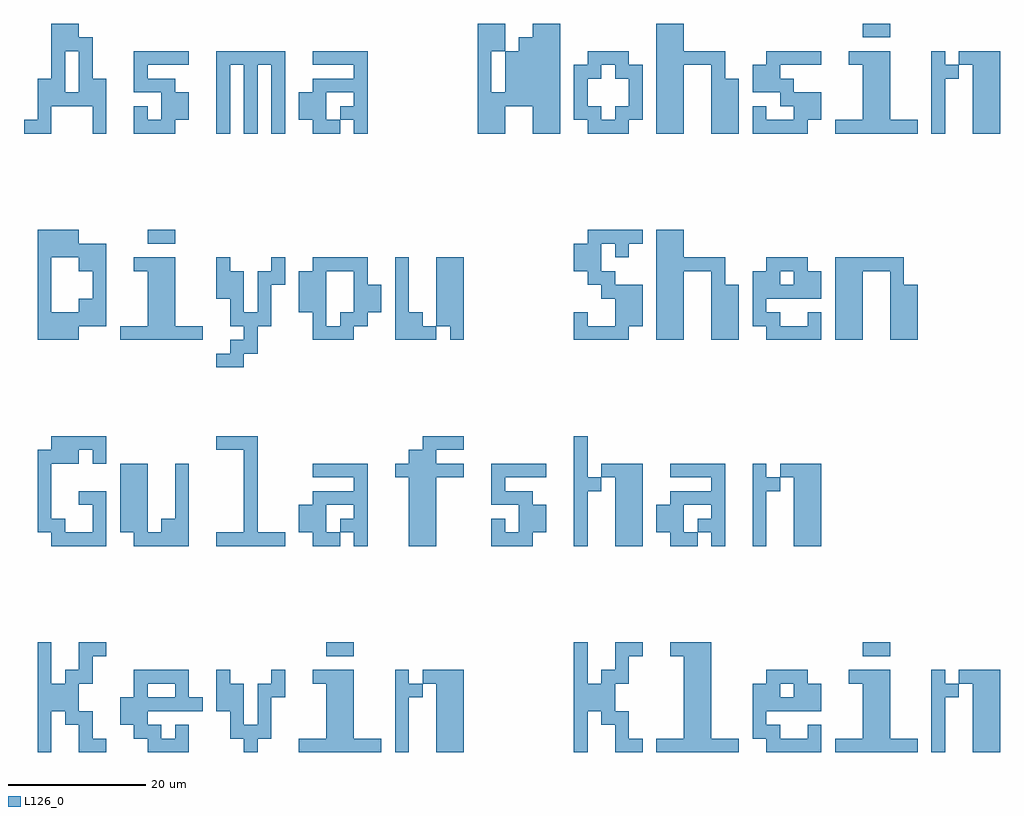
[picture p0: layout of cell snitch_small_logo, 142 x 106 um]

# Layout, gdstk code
import gdstk
lib = gdstk.Library(unit=1e-6, precision=1e-09)
def R(c, l, rs):  # rectangles x0, y0, x1, y1
    for r in rs: c.add(gdstk.rectangle(r[:2], r[2:], *l))
def P(c, l, *ps):  # polygons
    for p in ps: c.add(gdstk.Polygon(p, *l))
L126_0 = (126, 0)

snitch_small_logo = lib.new_cell('snitch_small_logo')
R(snitch_small_logo, L126_0, [(46,46,50,48), (124,46,128,48), (20,106,24,108), (124,136,128,138)])
P(snitch_small_logo, L126_0, [(20,32),(20,34),(18,34),(18,36),(16,36),(16,40),(18,40),(18,42),(20,42),(20,40),(24,40),(24,42),(18,42),(18,44),(26,44),(26,40),(28,40),(28,38),(20,38),(20,36),(22,36),(22,34),(24,34),(24,36),(26,36),(26,32)],
  [(34,32),(34,34),(32,34),(32,38),(30,38),(30,44),(32,44),(32,42),(34,42),(34,36),(36,36),(36,42),(38,42),(38,44),(40,44),(40,40),(38,40),(38,34),(36,34),(36,32)],
  [(42,32),(42,34),(46,34),(46,42),(44,42),(44,44),(50,44),(50,34),(54,34),(54,32)],
  [(56,32),(56,44),(58,44),(58,42),(60,42),(60,44),(66,44),(66,32),(62,32),(62,42),(60,42),(60,40),(58,40),(58,32)],
  [(110,32),(110,34),(108,34),(108,42),(112,42),(112,40),(114,40),(114,42),(110,42),(110,44),(116,44),(116,42),(118,42),(118,38),(110,38),(110,36),(112,36),(112,34),(116,34),(116,36),(118,36),(118,32)],
  [(120,32),(120,34),(124,34),(124,42),(122,42),(122,44),(128,44),(128,34),(132,34),(132,32)],
  [(134,32),(134,44),(136,44),(136,42),(138,42),(138,44),(144,44),(144,32),(140,32),(140,42),(138,42),(138,40),(136,40),(136,32)],
  [(4,32),(4,48),(6,48),(6,42),(8,42),(8,44),(10,44),(10,48),(14,48),(14,46),(12,46),(12,42),(10,42),(10,38),(12,38),(12,34),(14,34),(14,32),(10,32),(10,36),(8,36),(8,38),(6,38),(6,32)],
  [(82,32),(82,48),(84,48),(84,42),(86,42),(86,44),(88,44),(88,48),(92,48),(92,46),(90,46),(90,42),(88,42),(88,38),(90,38),(90,34),(92,34),(92,32),(88,32),(88,36),(86,36),(86,38),(84,38),(84,32)],
  [(94,32),(94,34),(98,34),(98,46),(96,46),(96,48),(102,48),(102,34),(106,34),(106,32)],
  [(18,62),(18,64),(16,64),(16,74),(20,74),(20,64),(22,64),(22,66),(24,66),(24,74),(26,74),(26,62)],
  [(44,62),(44,64),(42,64),(42,68),(46,68),(46,64),(48,64),(48,66),(50,66),(50,68),(44,68),(44,70),(50,70),(50,72),(44,72),(44,74),(52,74),(52,62),(50,62),(50,64),(48,64),(48,62)],
  [(70,62),(70,66),(72,66),(72,64),(74,64),(74,68),(70,68),(70,74),(78,74),(78,72),(72,72),(72,70),(76,70),(76,68),(78,68),(78,64),(76,64),(76,62)],
  [(96,62),(96,64),(94,64),(94,68),(98,68),(98,64),(100,64),(100,66),(102,66),(102,68),(96,68),(96,70),(102,70),(102,72),(96,72),(96,74),(104,74),(104,62),(102,62),(102,64),(100,64),(100,62)],
  [(108,62),(108,74),(110,74),(110,72),(112,72),(112,74),(118,74),(118,62),(114,62),(114,72),(112,72),(112,70),(110,70),(110,62)],
  [(6,62),(6,64),(4,64),(4,76),(6,76),(6,78),(14,78),(14,74),(12,74),(12,76),(10,76),(10,74),(6,74),(6,66),(8,66),(8,64),(12,64),(12,68),(10,68),(10,70),(14,70),(14,62)],
  [(30,62),(30,64),(34,64),(34,76),(30,76),(30,78),(36,78),(36,64),(40,64),(40,62)],
  [(58,62),(58,72),(56,72),(56,74),(58,74),(58,76),(60,76),(60,78),(66,78),(66,76),(62,76),(62,74),(66,74),(66,72),(62,72),(62,62)],
  [(82,62),(82,78),(84,78),(84,72),(86,72),(86,74),(92,74),(92,62),(88,62),(88,72),(86,72),(86,70),(84,70),(84,62)],
  [(16,92),(16,94),(20,94),(20,102),(18,102),(18,104),(24,104),(24,94),(28,94),(28,92)],
  [(30,88),(30,90),(32,90),(32,92),(34,92),(34,94),(32,94),(32,98),(30,98),(30,104),(32,104),(32,102),(34,102),(34,96),(36,96),(36,102),(38,102),(38,104),(40,104),(40,100),(38,100),(38,94),(36,94),(36,90),(34,90),(34,88)],
  [(44,92),(44,96),(42,96),(42,102),(46,102),(46,94),(48,94),(48,96),(50,96),(50,102),(44,102),(44,104),(52,104),(52,100),(54,100),(54,96),(52,96),(52,94),(50,94),(50,92)],
  [(56,92),(56,104),(58,104),(58,96),(60,96),(60,94),(62,94),(62,104),(66,104),(66,92),(64,92),(64,94),(62,94),(62,92)],
  [(110,92),(110,94),(108,94),(108,102),(112,102),(112,100),(114,100),(114,102),(110,102),(110,104),(116,104),(116,102),(118,102),(118,98),(110,98),(110,96),(112,96),(112,94),(116,94),(116,96),(118,96),(118,92)],
  [(120,92),(120,104),(130,104),(130,100),(132,100),(132,92),(128,92),(128,102),(124,102),(124,92)],
  [(4,92),(4,104),(6,104),(6,96),(10,96),(10,98),(12,98),(12,102),(10,102),(10,104),(4,104),(4,108),(10,108),(10,106),(14,106),(14,94),(10,94),(10,92)],
  [(82,92),(82,96),(84,96),(84,94),(88,94),(88,98),(86,98),(86,100),(84,100),(84,102),(82,102),(82,106),(84,106),(84,108),(92,108),(92,106),(90,106),(90,104),(88,104),(88,106),(86,106),(86,102),(88,102),(88,100),(92,100),(92,94),(90,94),(90,92)],
  [(94,92),(94,108),(98,108),(98,104),(104,104),(104,100),(106,100),(106,92),(102,92),(102,102),(98,102),(98,92)],
  [(18,122),(18,126),(20,126),(20,124),(22,124),(22,128),(18,128),(18,134),(26,134),(26,132),(20,132),(20,130),(24,130),(24,128),(26,128),(26,124),(24,124),(24,122)],
  [(30,122),(30,134),(40,134),(40,122),(38,122),(38,132),(36,132),(36,122),(34,122),(34,132),(32,132),(32,122)],
  [(44,122),(44,124),(42,124),(42,128),(46,128),(46,124),(48,124),(48,126),(50,126),(50,128),(44,128),(44,130),(50,130),(50,132),(44,132),(44,134),(52,134),(52,122),(50,122),(50,124),(48,124),(48,122)],
  [(84,122),(84,124),(82,124),(82,132),(86,132),(86,130),(84,130),(84,126),(86,126),(86,124),(88,124),(88,126),(90,126),(90,130),(88,130),(88,132),(84,132),(84,134),(90,134),(90,132),(92,132),(92,124),(90,124),(90,122)],
  [(108,122),(108,126),(110,126),(110,124),(114,124),(114,126),(112,126),(112,128),(108,128),(108,132),(110,132),(110,134),(118,134),(118,132),(112,132),(112,130),(114,130),(114,128),(118,128),(118,124),(116,124),(116,122)],
  [(120,122),(120,124),(124,124),(124,132),(122,132),(122,134),(128,134),(128,124),(132,124),(132,122)],
  [(134,122),(134,134),(136,134),(136,132),(138,132),(138,134),(144,134),(144,122),(140,122),(140,132),(138,132),(138,130),(136,130),(136,122)],
  [(2,122),(2,124),(4,124),(4,130),(6,130),(6,134),(8,134),(8,128),(10,128),(10,134),(6,134),(6,138),(10,138),(10,136),(12,136),(12,130),(14,130),(14,122),(12,122),(12,126),(6,126),(6,122)],
  [(68,122),(68,134),(70,134),(70,128),(72,128),(72,134),(68,134),(68,138),(72,138),(72,134),(74,134),(74,136),(76,136),(76,138),(80,138),(80,122),(76,122),(76,126),(72,126),(72,122)],
  [(94,122),(94,138),(98,138),(98,134),(104,134),(104,130),(106,130),(106,122),(102,122),(102,132),(98,132),(98,122)])

lib.write_gds('snitch_small_logo.gds')
